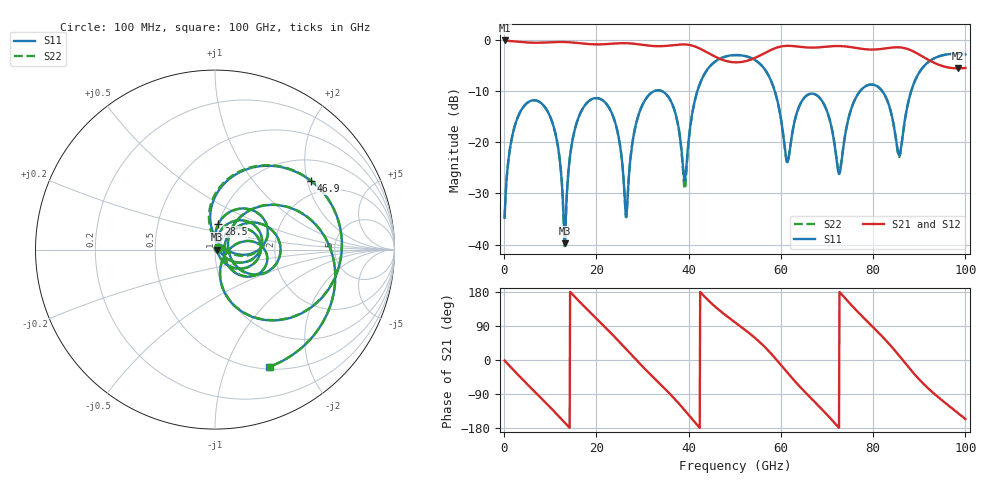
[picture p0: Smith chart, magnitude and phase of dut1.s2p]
! Touchstone file exported from HFSS 2026.1.0
!  File:  C:/ffzhzh/LocalFiles/Ansys_Project_Files/temp_train_TSV_RDL_1_1783611041_29156.aedt
!  Generated:  11:38:04 PM Jul  9, 2026
!  Design:  TSV_RDL
!  Project:  temp_train_TSV_RDL_1_1783611041_29156
! Variables:
!  h_bsmrdl = 4.73um
!  h_ox = 20um
!  h_rdl = 5um
!  h_sub = 68.38um
!  h_tmrdl = 2.85um
!  h_tsv = 68.38um
!  h_via = 3um
!  l_bsmrdl = 419.74um
!  l_sub = 4297.26um
!  l_tmrdl = 616.82um
!  m_sub = 200um
!  pitch = 40.93um
!  r_tsv = 11.18um
!  s_tmrdl = 10um
!  w_bsmrdl = 29.73um
!  w_sub = 500um
!  w_tmrdl = 27.19um
!  x_tsv_center1 = 630.415um
!  x_tsv_center2 = 1079.885um
!  x_tsv_center3 = 1723.895um
!  x_tsv_center4 = 2173.365um
!  x_tsv_center5 = 2817.375um
!  x_tsv_center6 = 3266.845um
# GHz S MA R 50.000000
! Terminal data exported
! Port[1] = TM_RDL1_1_T1
! Port[2] = TM_RDL5_1_T1
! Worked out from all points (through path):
!   1000 points, 100 MHz to 100 GHz, reference 50 ohm
!   highest |S21| = -0.14 dB at 100 MHz (marker M1); lowest = -5.6 dB at 98.4 GHz (marker M2)
!   group delay of S21, straight-line fit = 34.5 ps
!   lowest |S11| = -39.7 dB at 13.1 GHz (marker M3), VSWR 1.02, Z = 51 + j0.0351 ohm
!   |S11| at or under -10 dB: start of sweep to 32.66 GHz; 34.09 GHz to 41.9 GHz (7.806 GHz wide, 20.5 % of centre); 58.66 GHz to 77.21 GHz (18.55 GHz wide, 27.3 % of centre) (the widest 3 of 4)
!   |S22| runs from -40.3 to -2.7 dB; largest |S21 - S12| = 8.5e-14
!   S11 on the Smith chart (normalised r, x): 100 MHz: 1.03, +0.02; 28.5 GHz: 1.00, +0.29; 46.9 GHz: 1.56, +2.10; 100 GHz: 0.53, -1.42
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0.1  0.01824 27.1  0.9839 -1.4  0.9839 -1.4  0.01824 27.1
! Gamma 0 0 0 0
! Port Impedance 50 0 50 0
2.4  0.1486 48.9  0.9633 -31.4  0.9633 -31.4  0.1486 48.9
6.9  0.2551 -1.3  0.9345 -86.8  0.9345 -86.8  0.2552 -1.4
11  0.1276 -47.8  0.9493 -137.6  0.9493 -137.6  0.1276 -48.2
13.1  0.0103 1.9  0.9502 -164.7  0.9502 -164.7  0.009636 0.4
16.8  0.2034 52.9  0.9204 148.2  0.9204 148.2  0.2032 52.9
23.1  0.2025 -17.5  0.9127 71.8  0.9127 71.8  0.2023 -17.7
26.4  0.01891 15.3  0.925 29.3  0.925 29.3  0.0185 15.4
28.5  0.1447 82.6  0.9104 1.8  0.9104 1.8  0.1449 82.5
33.4  0.3206 30.3  0.8645 -58.4  0.8645 -58.4  0.3207 29.8
39.2  0.04238 49.6  0.8998 -133.5  0.8998 -133.5  0.03484 49.9
46.9  0.6573 35.7  0.6473 128.8  0.6473 128.8  0.6565 36.3
50.1  0.7085 8.1  0.6019 99.0  0.6019 99.0  0.7079 8.5
59.6  0.2136 -79.0  0.8506 -7.3  0.8506 -7.3  0.2135 -78.8
61.4  0.06352 -30.0  0.872 -33.3  0.872 -33.3  0.06316 -29.8
66.7  0.2977 -14.4  0.8377 -102.8  0.8377 -102.8  0.2975 -14.0
73.5  0.08656 42.9  0.8643 168.7  0.8643 168.7  0.08857 41.4
83.4  0.2314 -35.3  0.8316 43.3  0.8316 43.3  0.2312 -35.9
85.7  0.07454 10.8  0.8427 10.4  0.8427 10.4  0.07203 10.5
90.2  0.495 26.9  0.7073 -53.9  0.7073 -53.9  0.4944 27.2
98.4  0.7292 -50.8  0.525 -139.8  0.525 -139.8  0.7292 -50.5
100  0.7195 -65.4  0.5303 -155.8  0.5303 -155.8  0.7197 -65.0
